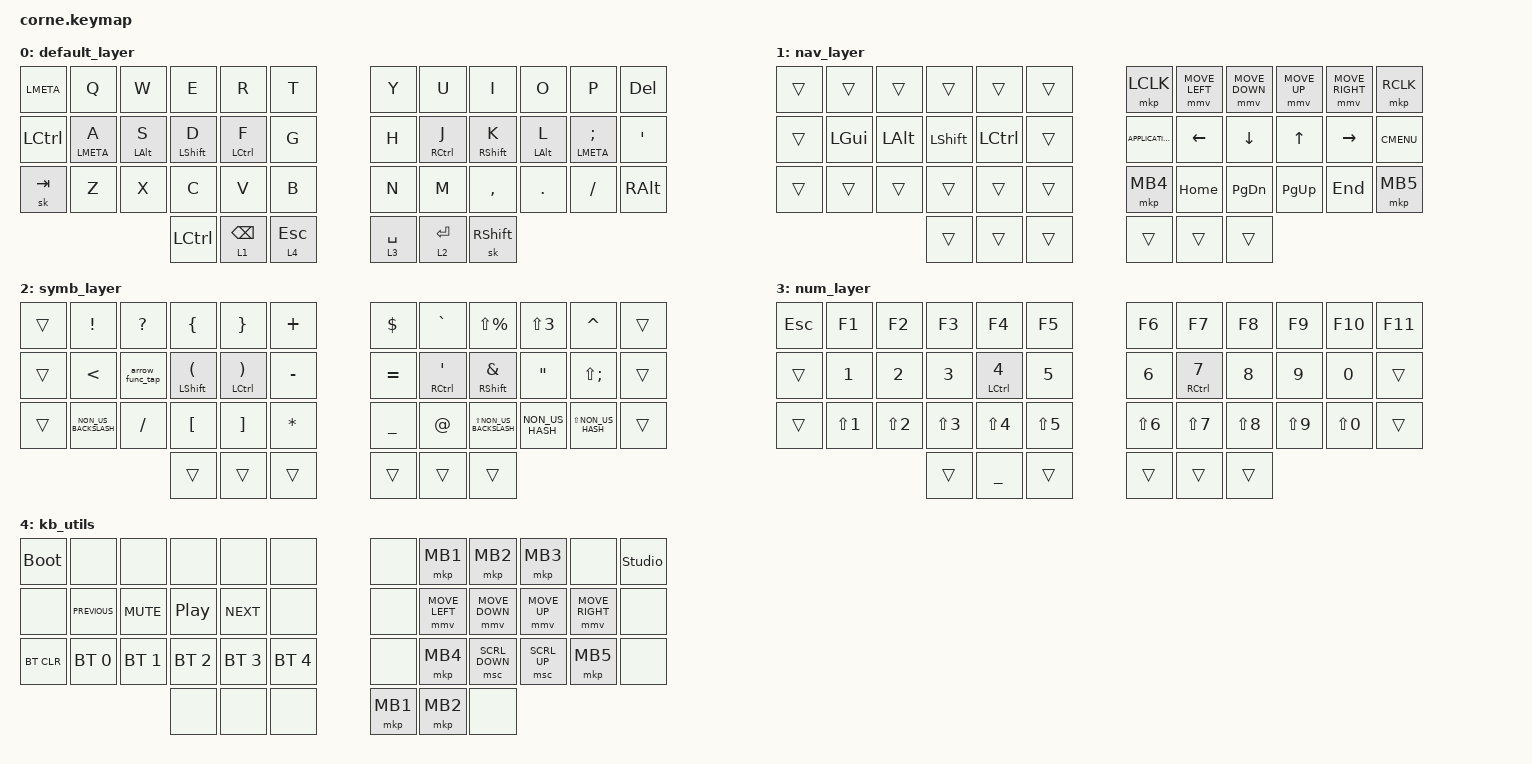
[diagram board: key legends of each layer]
/*
 * Copyright (c) 2020 The ZMK Contributors
 *
 * SPDX-License-Identifier: MIT
 */

#define ZMK_POINTING_DEFAULT_MOVE_VAL 800  // default: 600
#define ZMK_POINTING_DEFAULT_SCRL_VAL 20    // default: 10
#define KEYS_L LT0 LT1 LT2 LT3 LT4 LT5 LM0 LM1 LM2 LM3 LM4 LM5 LB0 LB1 LB2 LB3 LB4 LB5  // Left-hand keys.
#define KEYS_R RT0 RT1 RT2 RT3 RT4 RT5 RM0 RM1 RM2 RM3 RM4 RM5 RB0 RB1 RB2 RB3 RB4 RB5  // Right-hand keys.
#define THUMBS LH2 LH1 LH0 RH0 RH1 RH2

#include <zmk-helpers/key-labels/42.h>
#include <behaviors.dtsi>
#include <dt-bindings/zmk/bt.h>
#include <dt-bindings/zmk/keys.h>
#include <dt-bindings/zmk/pointing.h>

&sk {
    release-after-ms = <1000>;
    quick-release;
    lazy;
    ignore-modifiers;
};

&mmv {
    acceleration-exponent = <1>;          // 1
    time-to-max-speed-ms = <500>;         // 300
    delay-ms = <0>;                       // 0
};

&lt {
    tapping-term-ms = <200>; // default 200
    flavor = "balanced"; // or hold-preferred or tap-preferred
    quick-tap-ms = <150>;
};

/ {
    combos {
        compatible = "zmk,combos";

        caps_word {
            bindings = <&caps_word>;
            key-positions = <17 18>;
        };

        esc {
            bindings = <&kp ESCAPE>;
            key-positions = <1 2>;
        };

        vol_up {
            bindings = <&kp C_VOLUME_UP>;
            key-positions = <11 23>;
        };

        vol_down {
            bindings = <&kp C_VOLUME_DOWN>;
            key-positions = <23 35>;
        };

        CAPS_LOCK {
            bindings = <&kp CAPSLOCK>;
            key-positions = <5 6>;
        };

        Delete {
            bindings = <&kp DELETE>;
            key-positions = <10 9>;
        };

        underscore {
            bindings = <&kp UNDER>;
            key-positions = <7 8>;
        };

        dash {
            bindings = <&kp MINUS>;
            key-positions = <4 3>;
        };

        em-dash {
            bindings = <&emdsh>;
            key-positions = <2 3 4>;
        };

        f19 {
            bindings = <&kp F19>;
            key-positions = <1 4 7 10>;
        };
    };

    macros {
        arrow_func: arrow_func {
            compatible = "zmk,behavior-macro";
            #binding-cells = <0>;
            bindings = <&kp EQUAL &kp GT>, <&macro_press>;

            label = "ARROW_FUNC";
        };

        emdsh: emdsh {
            compatible = "zmk,behavior-macro";
            #binding-cells = <0>;
            bindings =
                <&kp SPACE &kp MINUS &kp MINUS &kp SPACE>,
                <&macro_press>;

            label = "EMDSH";
        };
    };

    behaviors {
        bhm: balanced_homerow_mods {
            compatible = "zmk,behavior-hold-tap";
            #binding-cells = <2>;
            tapping-term-ms = <200>;    // <---[[moderate duration]]
            quick-tap-ms = <0>;
            flavor = "balanced";
            bindings = <&kp>, <&kp>;
        };

        arrow_func_tap: arrow_func_tap {
            compatible = "zmk,behavior-tap-dance";
            label = "ARROW_FUNC_TAP";
            #binding-cells = <0>;
            bindings = <&kp GREATER_THAN>, <&arrow_func>;
        };
    };

    keymap {
        compatible = "zmk,keymap";

        default_layer {
            // -----------------------------------------------------------------------------------------
            // |  TAB |  Q  |  W  |  E  |  R  |  T  |   |  Y  |  U   |  I  |  O  |  P  | BSPC |
            // | CTRL |  A  |  S  |  D  |  F  |  G  |   |  H  |  J   |  K  |  L  |  ;  |  '   |
            // | SHFT |  Z  |  X  |  C  |  V  |  B  |   |  N  |  M   |  ,  |  .  |  /  | ESC  |
            //                    | GUI | LWR | SPC |   | ENT | RSE  | ALT |

            bindings = <
&kp LMETA  &kp Q         &kp W            &kp E              &kp R            &kp T        &kp Y        &kp U         &kp I               &kp O            &kp P                 &kp DELETE
&kp LCTRL  &bhm LMETA A  &bhm LEFT_ALT S  &bhm LEFT_SHIFT D  &bhm LCTRL F     &kp G        &kp H        &bhm RCTRL J  &bhm RIGHT_SHIFT K  &bhm LEFT_ALT L  &bhm LMETA SEMICOLON  &kp SQT
&sk TAB    &kp Z         &kp X            &kp C              &kp V            &kp B        &kp N        &kp M         &kp COMMA           &kp DOT          &kp FSLH              &kp RIGHT_ALT
                                          &kp LCTRL          &lt 1 BACKSPACE  &lt 4 ESC    &lt 3 SPACE  &lt 2 ENTER   &sk RIGHT_SHIFT
            >;
        };

        nav_layer {
            bindings = <
&trans  &trans    &trans    &trans          &trans            &trans    &mkp LCLK          &mmv MOVE_LEFT  &mmv MOVE_DOWN  &mmv MOVE_UP  &mmv MOVE_RIGHT  &mkp RCLK
&trans  &kp LGUI  &kp LALT  &kp LEFT_SHIFT  &kp LEFT_CONTROL  &trans    &kp K_APPLICATION  &kp LEFT        &kp DOWN_ARROW  &kp UP_ARROW  &kp RIGHT        &kp K_CMENU
&trans  &trans    &trans    &trans          &trans            &trans    &mkp MB4           &kp HOME        &kp PAGE_DOWN   &kp PG_UP     &kp END          &mkp MB5
                            &trans          &trans            &trans    &trans             &trans          &trans
            >;
        };

        symb_layer {
            bindings = <
&trans  &kp EXCLAMATION       &kp QUESTION     &kp LEFT_BRACE                    &kp RIGHT_BRACE               &kp PLUS        &kp DOLLAR      &kp GRAVE                &kp LS(PERCENT)             &kp LS(NUMBER_3)   &kp CARET            &trans
&trans  &kp LESS_THAN         &arrow_func_tap  &bhm LEFT_SHIFT LEFT_PARENTHESIS  &bhm LCTRL RIGHT_PARENTHESIS  &kp MINUS       &kp EQUAL       &bhm RCTRL SINGLE_QUOTE  &bhm RIGHT_SHIFT AMPERSAND  &kp DOUBLE_QUOTES  &kp LS(SEMICOLON)    &trans
&trans  &kp NON_US_BACKSLASH  &kp SLASH        &kp LEFT_BRACKET                  &kp RIGHT_BRACKET             &kp ASTERISK    &kp UNDERSCORE  &kp AT_SIGN              &kp LS(NON_US_BACKSLASH)    &kp NON_US_HASH    &kp LS(NON_US_HASH)  &trans
                                               &trans                            &trans                        &trans          &trans          &trans                   &trans
            >;
        };

        num_layer {
            bindings = <
&kp ESC  &kp F1      &kp F2      &kp F3      &kp F4               &kp F5        &kp F6      &kp F7               &kp F8      &kp F9      &kp F10     &kp F11
&trans   &kp N1      &kp N2      &kp N3      &bhm LCTRL NUMBER_4  &kp N5        &kp N6      &bhm RCTRL NUMBER_7  &kp N8      &kp N9      &kp N0      &trans
&trans   &kp LS(N1)  &kp LS(N2)  &kp LS(N3)  &kp LS(N4)           &kp LS(N5)    &kp LS(N6)  &kp LS(N7)           &kp LS(N8)  &kp LS(N9)  &kp LS(N0)  &trans
                                 &trans      &kp UNDER            &trans        &trans      &trans               &trans
            >;
        };

        kb_utils {
            bindings = <
&bootloader  &none           &none         &none             &none         &none           &none     &mkp MB1        &mkp MB2        &mkp MB3      &none            &studio_unlock
&none        &kp C_PREVIOUS  &kp C_MUTE    &kp C_PLAY_PAUSE  &kp C_NEXT    &none           &none     &mmv MOVE_LEFT  &mmv MOVE_DOWN  &mmv MOVE_UP  &mmv MOVE_RIGHT  &none
&bt BT_CLR   &bt BT_SEL 0    &bt BT_SEL 1  &bt BT_SEL 2      &bt BT_SEL 3  &bt BT_SEL 4    &none     &mkp MB4        &msc SCRL_DOWN  &msc SCRL_UP  &mkp MB5         &none
                                           &none             &none         &none           &mkp MB1  &mkp MB2        &none
            >;
        };
    };

    conditional_layers { compatible = "zmk,conditional-layers"; };
};
